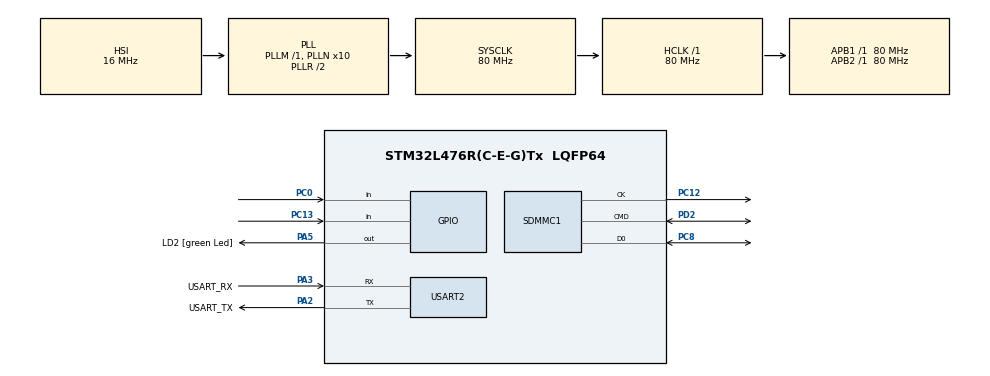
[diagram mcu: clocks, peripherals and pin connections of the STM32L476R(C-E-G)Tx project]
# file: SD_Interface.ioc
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Dma.Request0=USART2_RX
Dma.Request1=USART2_TX
Dma.Request2=SDMMC1_RX
Dma.Request3=SDMMC1_TX
Dma.SDMMC1_RX.2.Direction=DMA_PERIPH_TO_MEMORY
Dma.SDMMC1_RX.2.Instance=DMA2_Channel4
Dma.SDMMC1_RX.2.MemDataAlignment=DMA_MDATAALIGN_WORD
Dma.SDMMC1_RX.2.MemInc=DMA_MINC_ENABLE
Dma.SDMMC1_RX.2.Mode=DMA_NORMAL
Dma.SDMMC1_RX.2.PeriphDataAlignment=DMA_PDATAALIGN_WORD
Dma.SDMMC1_RX.2.PeriphInc=DMA_PINC_DISABLE
Dma.SDMMC1_RX.2.Priority=DMA_PRIORITY_LOW
Dma.SDMMC1_TX.3.Direction=DMA_MEMORY_TO_PERIPH
Dma.SDMMC1_TX.3.Instance=DMA2_Channel5
Dma.SDMMC1_TX.3.MemDataAlignment=DMA_MDATAALIGN_WORD
Dma.SDMMC1_TX.3.MemInc=DMA_MINC_ENABLE
Dma.SDMMC1_TX.3.Mode=DMA_NORMAL
Dma.SDMMC1_TX.3.PeriphDataAlignment=DMA_PDATAALIGN_WORD
Dma.SDMMC1_TX.3.PeriphInc=DMA_PINC_DISABLE
Dma.SDMMC1_TX.3.Priority=DMA_PRIORITY_LOW
Dma.USART2_RX.0.Direction=DMA_PERIPH_TO_MEMORY
Dma.USART2_RX.0.Instance=DMA1_Channel6
Dma.USART2_RX.0.MemDataAlignment=DMA_MDATAALIGN_BYTE
Dma.USART2_RX.0.MemInc=DMA_MINC_ENABLE
Dma.USART2_RX.0.Mode=DMA_NORMAL
Dma.USART2_RX.0.PeriphDataAlignment=DMA_PDATAALIGN_BYTE
Dma.USART2_RX.0.PeriphInc=DMA_PINC_DISABLE
Dma.USART2_RX.0.Priority=DMA_PRIORITY_LOW
Dma.USART2_TX.1.Direction=DMA_MEMORY_TO_PERIPH
Dma.USART2_TX.1.Instance=DMA1_Channel7
Dma.USART2_TX.1.MemDataAlignment=DMA_MDATAALIGN_BYTE
Dma.USART2_TX.1.MemInc=DMA_MINC_ENABLE
Dma.USART2_TX.1.Mode=DMA_NORMAL
Dma.USART2_TX.1.PeriphDataAlignment=DMA_PDATAALIGN_BYTE
Dma.USART2_TX.1.PeriphInc=DMA_PINC_DISABLE
Dma.USART2_TX.1.Priority=DMA_PRIORITY_LOW
FATFS.BSP.number=1
FATFS.USE_DMA_CODE_SD=1
FATFS0.BSP.STBoard=false
FATFS0.BSP.api=Unknown
FATFS0.BSP.i2caddr=0
FATFS0.BSP.instance=PC13
FATFS0.BSP.ip=GPIO
FATFS0.BSP.mode=Input
FATFS0.BSP.name=Detect_SDIO
FATFS0.BSP.solution=PC13
Mcu.Family=STM32L4
Mcu.Name=STM32L476R(C-E-G)Tx
Mcu.Package=LQFP64
NVIC.DMA1_Channel6_IRQn=true\:0\:0\:false\:false\:true\:false\:true
NVIC.DMA1_Channel7_IRQn=true\:0\:0\:false\:false\:true\:false\:true
NVIC.DMA2_Channel4_IRQn=true\:0\:0\:false\:false\:true\:false\:true
NVIC.DMA2_Channel5_IRQn=true\:0\:0\:false\:false\:true\:false\:true
NVIC.PriorityGroup=NVIC_PRIORITYGROUP_4
NVIC.SDMMC1_IRQn=true\:0\:0\:false\:false\:true\:true\:true
PA13\ (JTMS-SWDIO).GPIO_Label=TMS
PA13\ (JTMS-SWDIO).Mode=Serial_Wire
PA13\ (JTMS-SWDIO).Signal=SYS_JTMS-SWDIO
PA14\ (JTCK-SWCLK).GPIO_Label=TCK
PA14\ (JTCK-SWCLK).Mode=Serial_Wire
PA14\ (JTCK-SWCLK).Signal=SYS_JTCK-SWCLK
PA2.GPIO_Label=USART_TX
PA2.GPIO_Mode=GPIO_MODE_AF_PP
PA2.GPIO_PuPd=GPIO_NOPULL
PA2.GPIO_Speed=GPIO_SPEED_FREQ_VERY_HIGH
PA2.Mode=Asynchronous
PA2.Signal=USART2_TX
PA3.GPIO_Label=USART_RX
PA3.GPIO_Mode=GPIO_MODE_AF_PP
PA3.GPIO_PuPd=GPIO_NOPULL
PA3.GPIO_Speed=GPIO_SPEED_FREQ_VERY_HIGH
PA3.Mode=Asynchronous
PA3.Signal=USART2_RX
PA5.GPIO_Label=LD2 [green Led]
PA5.GPIO_ModeDefaultOutputPP=GPIO_MODE_OUTPUT_PP
PA5.GPIO_PuPd=GPIO_NOPULL
PA5.GPIO_Speed=GPIO_SPEED_FREQ_LOW
PA5.Signal=GPIO_Output
PB3\ (JTDO-TRACESWO).GPIO_Label=SWO
PB3\ (JTDO-TRACESWO).Signal=SYS_JTDO-SWO
PC0.Signal=GPIO_Input
PC12.Mode=SD_1_bit
PC12.Signal=SDMMC1_CK
PC13.Signal=GPIO_Input
PC14-OSC32_IN\ (PC14).Mode=LSE-External-Oscillator
PC14-OSC32_IN\ (PC14).Signal=RCC_OSC32_IN
PC15-OSC32_OUT\ (PC15).Mode=LSE-External-Oscillator
PC15-OSC32_OUT\ (PC15).Signal=RCC_OSC32_OUT
PC8.Mode=SD_1_bit
PC8.Signal=SDMMC1_D0
PD2.Mode=SD_1_bit
PD2.Signal=SDMMC1_CMD
PH0-OSC_IN\ (PH0).Signal=RCC_OSC_IN
PH1-OSC_OUT\ (PH1).Signal=RCC_OSC_OUT
ProjectManager.HeapSize=0x400
ProjectManager.StackSize=0x800
ProjectManager.TargetToolchain=STM32CubeIDE
RCC.ADCFreq_Value=64000000
RCC.AHBFreq_Value=80000000
RCC.APB1Freq_Value=80000000
RCC.APB1TimFreq_Value=80000000
RCC.APB2Freq_Value=80000000
RCC.APB2TimFreq_Value=80000000
RCC.CortexFreq_Value=80000000
RCC.HCLKFreq_Value=80000000
RCC.HSE_VALUE=8000000
RCC.HSI_VALUE=16000000
RCC.MSI_VALUE=4000000
RCC.PLLN=10
RCC.PLLSAI1Q=RCC_PLLQ_DIV4
RCC.PLLSourceVirtual=RCC_PLLSOURCE_HSI
RCC.PREFETCH_ENABLE=1
RCC.SYSCLKFreq_VALUE=80000000
RCC.SYSCLKSource=RCC_SYSCLKSOURCE_PLLCLK
RCC.USBFreq_Value=32000000
RCC.VCOOutputFreq_Value=160000000
USART2.VirtualMode-Asynchronous=VM_ASYNC
VP_FATFS_VS_SDIO.Mode=SDIO
board=NUCLEO-L476RG

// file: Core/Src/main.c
/* USER CODE BEGIN Header */
/**
  ******************************************************************************
  * @file           : main.c
  * @brief          : Main program body
  ******************************************************************************
  * @attention
  *
  * <h2><center>&copy; Copyright (c) 2022 STMicroelectronics.
  * All rights reserved.</center></h2>
  *
  * This software component is licensed by ST under Ultimate Liberty license
  * SLA0044, the "License"; You may not use this file except in compliance with
  * the License. You may obtain a copy of the License at:
  *                             www.st.com/SLA0044
  *
  ******************************************************************************
  */
/* USER CODE END Header */
#include "main.h"
#include "fatfs.h"

SD_HandleTypeDef hsd1;
DMA_HandleTypeDef hdma_sdmmc1_rx;
DMA_HandleTypeDef hdma_sdmmc1_tx;

UART_HandleTypeDef huart2;
DMA_HandleTypeDef hdma_usart2_rx;
DMA_HandleTypeDef hdma_usart2_tx;

void SystemClock_Config(void);
static void MX_GPIO_Init(void);
static void MX_DMA_Init(void);
static void MX_SDMMC1_SD_Init(void);
static void MX_USART2_UART_Init(void);

int main(void)
{
  /* USER CODE BEGIN 1 */
	FRESULT res; /* FatFs function common result code */
	uint32_t byteswritten, bytesread; /* File write/read counts */
	uint8_t wtext[] = "STM32 FATFS works great!"; /* File write buffer */
	uint8_t rtext[_MAX_SS];/* File read buffer */
	uint8_t errorCode = 0;
  /* USER CODE END 1 */

  /* MCU Configuration--------------------------------------------------------*/

  /* Reset of all peripherals, Initializes the Flash interface and the Systick. */
  HAL_Init();

  /* Configure the system clock */
  SystemClock_Config();

  /* Initialize all configured peripherals */
  MX_GPIO_Init();
  MX_DMA_Init();
  MX_SDMMC1_SD_Init();
  MX_USART2_UART_Init();
  MX_FATFS_Init();
  /* USER CODE BEGIN 2 */
  if(f_mount(&SDFatFS, (TCHAR const*)SDPath, 0) != FR_OK)
  {
	  errorCode = 1;
      Error_Handler(errorCode);
  }
  else
  {
      if(f_mkfs((TCHAR const*)SDPath, FM_ANY, 0, rtext, sizeof(rtext)) != FR_OK)
      {
    	  errorCode = 2;
          Error_Handler(errorCode);
      }
      else
      {
          //Open file for writing (Create)
          if(f_open(&SDFile, "STM32.TXT", FA_CREATE_ALWAYS | FA_WRITE) != FR_OK)
          {
        	  errorCode = 3;
              Error_Handler(errorCode);
          }
          else
          {

              //Write to the text file
              res = f_write(&SDFile, wtext, strlen((char *)wtext), (void *)&byteswritten);
              if((byteswritten == 0) || (res != FR_OK))
              {
            	  errorCode = 4;
                  Error_Handler(errorCode);
              }
              else
              {

                  f_close(&SDFile);
              }
          }
      }
  }
  f_mount(&SDFatFS, (TCHAR const*)NULL, 0);
  /* USER CODE END 2 */

  /* Infinite loop */
  while (1)
  {

  }
}

void SystemClock_Config(void)
{
  RCC_OscInitTypeDef RCC_OscInitStruct = {0};
  RCC_ClkInitTypeDef RCC_ClkInitStruct = {0};
  RCC_PeriphCLKInitTypeDef PeriphClkInit = {0};

  /** Initializes the RCC Oscillators according to the specified parameters
  * in the RCC_OscInitTypeDef structure.
  */
  RCC_OscInitStruct.OscillatorType = RCC_OSCILLATORTYPE_HSI;
  RCC_OscInitStruct.HSIState = RCC_HSI_ON;
  RCC_OscInitStruct.HSICalibrationValue = RCC_HSICALIBRATION_DEFAULT;
  RCC_OscInitStruct.PLL.PLLState = RCC_PLL_ON;
  RCC_OscInitStruct.PLL.PLLSource = RCC_PLLSOURCE_HSI;
  RCC_OscInitStruct.PLL.PLLM = 1;
  RCC_OscInitStruct.PLL.PLLN = 10;
  RCC_OscInitStruct.PLL.PLLP = RCC_PLLP_DIV7;
  RCC_OscInitStruct.PLL.PLLQ = RCC_PLLQ_DIV2;
  RCC_OscInitStruct.PLL.PLLR = RCC_PLLR_DIV2;
  if (HAL_RCC_OscConfig(&RCC_OscInitStruct) != HAL_OK)
  {
    //Error_Handler(errorCode);
  }
  /** Initializes the CPU, AHB and APB buses clocks
  */
  RCC_ClkInitStruct.ClockType = RCC_CLOCKTYPE_HCLK|RCC_CLOCKTYPE_SYSCLK
                              |RCC_CLOCKTYPE_PCLK1|RCC_CLOCKTYPE_PCLK2;
  RCC_ClkInitStruct.SYSCLKSource = RCC_SYSCLKSOURCE_PLLCLK;
  RCC_ClkInitStruct.AHBCLKDivider = RCC_SYSCLK_DIV1;
  RCC_ClkInitStruct.APB1CLKDivider = RCC_HCLK_DIV1;
  RCC_ClkInitStruct.APB2CLKDivider = RCC_HCLK_DIV1;

  if (HAL_RCC_ClockConfig(&RCC_ClkInitStruct, FLASH_LATENCY_4) != HAL_OK)
  {
    //Error_Handler(errorCode);
  }
  PeriphClkInit.PeriphClockSelection = RCC_PERIPHCLK_USART2|RCC_PERIPHCLK_SDMMC1;
  PeriphClkInit.Usart2ClockSelection = RCC_USART2CLKSOURCE_PCLK1;
  PeriphClkInit.Sdmmc1ClockSelection = RCC_SDMMC1CLKSOURCE_PLLSAI1;
  PeriphClkInit.PLLSAI1.PLLSAI1Source = RCC_PLLSOURCE_HSI;
  PeriphClkInit.PLLSAI1.PLLSAI1M = 1;
  PeriphClkInit.PLLSAI1.PLLSAI1N = 8;
  PeriphClkInit.PLLSAI1.PLLSAI1P = RCC_PLLP_DIV7;
  PeriphClkInit.PLLSAI1.PLLSAI1Q = RCC_PLLQ_DIV4;
  PeriphClkInit.PLLSAI1.PLLSAI1R = RCC_PLLR_DIV2;
  PeriphClkInit.PLLSAI1.PLLSAI1ClockOut = RCC_PLLSAI1_48M2CLK;
  if (HAL_RCCEx_PeriphCLKConfig(&PeriphClkInit) != HAL_OK)
  {
    //Error_Handler(errorCode);
  }
  /** Configure the main internal regulator output voltage
  */
  if (HAL_PWREx_ControlVoltageScaling(PWR_REGULATOR_VOLTAGE_SCALE1) != HAL_OK)
  {
    //Error_Handler(errorCode);
  }
}

static void MX_SDMMC1_SD_Init(void)
{

  hsd1.Instance = SDMMC1;
  hsd1.Init.ClockEdge = SDMMC_CLOCK_EDGE_RISING;
  hsd1.Init.ClockBypass = SDMMC_CLOCK_BYPASS_DISABLE;
  hsd1.Init.ClockPowerSave = SDMMC_CLOCK_POWER_SAVE_DISABLE;
  hsd1.Init.BusWide = SDMMC_BUS_WIDE_1B;
  hsd1.Init.HardwareFlowControl = SDMMC_HARDWARE_FLOW_CONTROL_DISABLE;
  hsd1.Init.ClockDiv = 0;

}

static void MX_USART2_UART_Init(void)
{

  huart2.Instance = USART2;
  huart2.Init.BaudRate = 115200;
  huart2.Init.WordLength = UART_WORDLENGTH_8B;
  huart2.Init.StopBits = UART_STOPBITS_1;
  huart2.Init.Parity = UART_PARITY_NONE;
  huart2.Init.Mode = UART_MODE_TX_RX;
  huart2.Init.HwFlowCtl = UART_HWCONTROL_NONE;
  huart2.Init.OverSampling = UART_OVERSAMPLING_16;
  huart2.Init.OneBitSampling = UART_ONE_BIT_SAMPLE_DISABLE;
  huart2.AdvancedInit.AdvFeatureInit = UART_ADVFEATURE_NO_INIT;
  if (HAL_UART_Init(&huart2) != HAL_OK)
  {
    //Error_Handler(errorCode);
  }

}

static void MX_DMA_Init(void)
{

  /* DMA controller clock enable */
  __HAL_RCC_DMA1_CLK_ENABLE();
  __HAL_RCC_DMA2_CLK_ENABLE();

  /* DMA interrupt init */
  /* DMA1_Channel6_IRQn interrupt configuration */
  HAL_NVIC_SetPriority(DMA1_Channel6_IRQn, 0, 0);
  HAL_NVIC_EnableIRQ(DMA1_Channel6_IRQn);
  /* DMA1_Channel7_IRQn interrupt configuration */
  HAL_NVIC_SetPriority(DMA1_Channel7_IRQn, 0, 0);
  HAL_NVIC_EnableIRQ(DMA1_Channel7_IRQn);
  /* DMA2_Channel4_IRQn interrupt configuration */
  HAL_NVIC_SetPriority(DMA2_Channel4_IRQn, 0, 0);
  HAL_NVIC_EnableIRQ(DMA2_Channel4_IRQn);
  /* DMA2_Channel5_IRQn interrupt configuration */
  HAL_NVIC_SetPriority(DMA2_Channel5_IRQn, 0, 0);
  HAL_NVIC_EnableIRQ(DMA2_Channel5_IRQn);

}

static void MX_GPIO_Init(void)
{
  GPIO_InitTypeDef GPIO_InitStruct = {0};

  /* GPIO Ports Clock Enable */
  __HAL_RCC_GPIOC_CLK_ENABLE();
  __HAL_RCC_GPIOH_CLK_ENABLE();
  __HAL_RCC_GPIOA_CLK_ENABLE();
  __HAL_RCC_GPIOD_CLK_ENABLE();
  __HAL_RCC_GPIOB_CLK_ENABLE();

  /*Configure GPIO pin Output Level */
  HAL_GPIO_WritePin(LD2_GPIO_Port, LD2_Pin, GPIO_PIN_RESET);

  /*Configure GPIO pins : PC13 PC0 */
  GPIO_InitStruct.Pin = GPIO_PIN_13|GPIO_PIN_0;
  GPIO_InitStruct.Mode = GPIO_MODE_INPUT;
  GPIO_InitStruct.Pull = GPIO_NOPULL;
  HAL_GPIO_Init(GPIOC, &GPIO_InitStruct);

  /*Configure GPIO pin : LD2_Pin */
  GPIO_InitStruct.Pin = LD2_Pin;
  GPIO_InitStruct.Mode = GPIO_MODE_OUTPUT_PP;
  GPIO_InitStruct.Pull = GPIO_NOPULL;
  GPIO_InitStruct.Speed = GPIO_SPEED_FREQ_LOW;
  HAL_GPIO_Init(LD2_GPIO_Port, &GPIO_InitStruct);

}

uint8_t Error_Handler(uint8_t errorCode)
{
  /* USER CODE BEGIN Error_Handler_Debug */
  /* User can add his own implementation to report the HAL error return state */
	for (int i = 0; i <= errorCode; i++)
	{
		HAL_GPIO_TogglePin (GPIOA, GPIO_PIN_5);
		HAL_Delay(1000);
		HAL_GPIO_TogglePin (GPIOA, GPIO_PIN_5);

	}
  /* USER CODE END Error_Handler_Debug */
}

/************************ (C) COPYRIGHT STMicroelectronics *****END OF FILE****/
